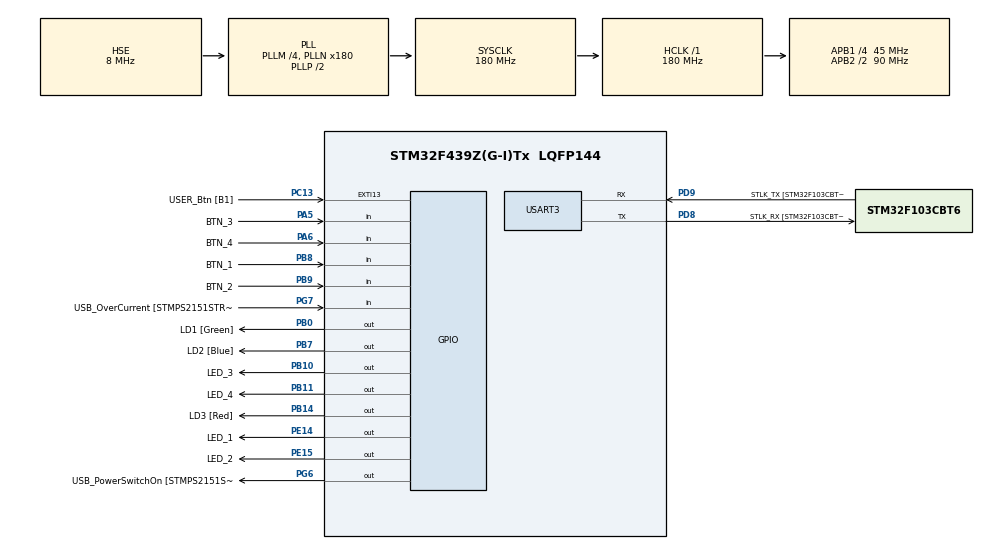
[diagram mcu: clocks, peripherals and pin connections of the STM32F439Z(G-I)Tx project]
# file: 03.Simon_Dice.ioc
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Mcu.Family=STM32F4
Mcu.Name=STM32F439Z(G-I)Tx
Mcu.Package=LQFP144
NVIC.PriorityGroup=NVIC_PRIORITYGROUP_4
PA13.GPIO_Label=TMS
PA13.Mode=Serial_Wire
PA13.Signal=SYS_JTMS-SWDIO
PA14.GPIO_Label=TCK
PA14.Mode=Serial_Wire
PA14.Signal=SYS_JTCK-SWCLK
PA5.GPIO_Label=BTN_3
PA5.GPIO_PuPd=GPIO_PULLUP
PA5.Signal=GPIO_Input
PA6.GPIO_Label=BTN_4
PA6.GPIO_PuPd=GPIO_PULLUP
PA6.Signal=GPIO_Input
PB0.GPIO_Label=LD1 [Green]
PB0.Signal=GPIO_Output
PB10.GPIO_Label=LED_3
PB10.Signal=GPIO_Output
PB11.GPIO_Label=LED_4
PB11.Signal=GPIO_Output
PB14.GPIO_Label=LD3 [Red]
PB14.Signal=GPIO_Output
PB7.GPIO_Label=LD2 [Blue]
PB7.Signal=GPIO_Output
PB8.GPIO_Label=BTN_1
PB8.GPIO_PuPd=GPIO_PULLUP
PB8.Signal=GPIO_Input
PB9.GPIO_Label=BTN_2
PB9.GPIO_PuPd=GPIO_PULLUP
PB9.Signal=GPIO_Input
PC13.GPIO_Label=USER_Btn [B1]
PC13.Signal=GPXTI13
PC14/OSC32_IN.Mode=LSE-External-Oscillator
PC14/OSC32_IN.Signal=RCC_OSC32_IN
PC15/OSC32_OUT.Mode=LSE-External-Oscillator
PC15/OSC32_OUT.Signal=RCC_OSC32_OUT
PD8.GPIO_Label=STLK_RX [STM32F103CBT6_PA3]
PD8.Mode=Asynchronous
PD8.Signal=USART3_TX
PD9.GPIO_Label=STLK_TX [STM32F103CBT6_PA2]
PD9.Mode=Asynchronous
PD9.Signal=USART3_RX
PE14.GPIO_Label=LED_1
PE14.Signal=GPIO_Output
PE15.GPIO_Label=LED_2
PE15.Signal=GPIO_Output
PG6.GPIO_Label=USB_PowerSwitchOn [STMPS2151STR_EN]
PG6.Signal=GPIO_Output
PG7.GPIO_Label=USB_OverCurrent [STMPS2151STR_FAULT]
PG7.Signal=GPIO_Input
PH0/OSC_IN.GPIO_Label=MCO [STM32F103CBT6_PA8]
PH0/OSC_IN.Mode=HSE-External-Oscillator
PH0/OSC_IN.Signal=RCC_OSC_IN
PH1/OSC_OUT.Mode=HSE-External-Oscillator
PH1/OSC_OUT.Signal=RCC_OSC_OUT
ProjectManager.HeapSize=0x200
ProjectManager.StackSize=0x400
ProjectManager.TargetToolchain=STM32CubeIDE
RCC.48MHZClocksFreq_Value=51428571.428571425
RCC.AHBFreq_Value=180000000
RCC.APB1CLKDivider=RCC_HCLK_DIV4
RCC.APB1Freq_Value=45000000
RCC.APB1TimFreq_Value=90000000
RCC.APB2CLKDivider=RCC_HCLK_DIV2
RCC.APB2Freq_Value=90000000
RCC.APB2TimFreq_Value=180000000
RCC.CortexFreq_Value=180000000
RCC.HCLKFreq_Value=180000000
RCC.HSE_VALUE=8000000
RCC.HSI_VALUE=16000000
RCC.PLLM=4
RCC.PLLMUL=RCC_PLL_MUL9
RCC.PLLN=180
RCC.PLLQ=7
RCC.PLLSourceVirtual=RCC_PLLSOURCE_HSE
RCC.PRESCALERUSB=RCC_USBCLKSOURCE_PLL_DIV1_5
RCC.SYSCLKFreq_VALUE=180000000
RCC.SYSCLKSource=RCC_SYSCLKSOURCE_PLLCLK
RCC.SYSCLKSourceVirtual=RCC_SYSCLKSOURCE_PLLCLK
RCC.USBFreq_Value=48000000
RCC.VCOOutputFreq_Value=360000000
USART3.VirtualMode=VM_ASYNC
board=NUCLEO-F439ZI

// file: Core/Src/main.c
/* USER CODE BEGIN Header */
/**
  ******************************************************************************
  * @file           : main.c
  * @brief          : Main program body
  ******************************************************************************
  * @attention
  *
  * Copyright (c) 2026 STMicroelectronics.
  * All rights reserved.
  *
  * This software is licensed under terms that can be found in the LICENSE file
  * in the root directory of this software component.
  * If no LICENSE file comes with this software, it is provided AS-IS.
  *
  ******************************************************************************
  */
/* USER CODE END Header */
#include "main.h"

/* USER CODE BEGIN Includes */
#include <stdio.h>
#include <stdlib.h>
#include <string.h>
/* USER CODE END Includes */

/* USER CODE BEGIN PD */
#define MAX_NIVEL 100
/* USER CODE END PD */

UART_HandleTypeDef huart3;

/* USER CODE BEGIN PV */
#define NIVEL_VICTORIA 10  // El juego termina al ganar 10 rondas
uint8_t secuencia[MAX_NIVEL];
uint8_t nivel_actual = 0;
/* USER CODE END PV */

void SystemClock_Config(void);
static void MX_GPIO_Init(void);
static void MX_USART3_UART_Init(void);
/* USER CODE BEGIN PFP */

/**
 * @brief  Bloquea la ejecución hasta que se presiona uno de los 4 botones.
 * @note   Implementa una espera activa con un pequeño delay para reducir el consumo de CPU.
 * @retval uint8_t ID del botón presionado (1 a 4).
 */
uint8_t Simon_EsperarBoton(void);

/**
 * @brief  Verifica de forma no bloqueante si algún botón está siendo presionado.
 * @note   Útil para detectar el inicio del juego o flancos de bajada.
 * @retval uint8_t 1 si hay al menos un botón presionado, 0 en caso contrario.
 */
uint8_t Simon_CualquierBotonPresionado(void);

/**
 * @brief  Muestra la secuencia generada hasta el nivel actual utilizando los LEDs.
 * @details Itera sobre el arreglo 'secuencia', encendiendo el LED correspondiente
 * con tiempos de encendido (600ms) y apagado (200ms).
 * @retval None
 */
void Simon_ReproducirSecuencia(void);

/**
 * @brief  Enciende un LED específico y asegura que los demás estén apagados.
 * @param  num: ID del LED a encender (1 a 4).
 * @retval None
 */
void Simon_EncenderUno(uint8_t num);

/**
 * @brief  Apaga todos los LEDs del juego de forma simultánea.
 * @note   Utiliza operaciones de bits (OR) para manejar múltiples pines en una sola llamada HAL.
 * @retval None
 */
void LED_All_Off(void);

/**
 * @brief  Ejecuta una animación de parpadeo rápido (flash) para indicar la pérdida del juego.
 * @retval None
 */
void Game_Over_Anim(void);

/**
 * @brief  Ejecuta una coreografía de luces circular y un flash final al ganar.
 * @details Envía un mensaje de felicitaciones por UART y realiza una animación de "giro"
 * con los 4 LEDs antes de reiniciar el contador de niveles.
 * @retval None
 */
void Win_Animation(void);

/**
 * @brief  Envía una cadena de caracteres a través del periférico USART3.
 * @param  mensaje: Puntero a la cadena de texto (string) a transmitir.
 * @retval None
 */
void Debug_Log(char* mensaje);

/* USER CODE END PFP */

/* USER CODE BEGIN 0 */

/* --- Lógica de Control de Hardware --- */

uint8_t Simon_EsperarBoton(void) {
    while (1) {
        // Asumiendo Pulsadores con Pull-Up interna (Active Low)
        if (HAL_GPIO_ReadPin(BTN_1_GPIO_Port, BTN_1_Pin) == GPIO_PIN_RESET) return 1;	//Boton 1
        if (HAL_GPIO_ReadPin(BTN_2_GPIO_Port, BTN_2_Pin) == GPIO_PIN_RESET) return 2;	//Boton 2
        if (HAL_GPIO_ReadPin(BTN_3_GPIO_Port, BTN_3_Pin) == GPIO_PIN_RESET) return 3;	//Boton 3
        if (HAL_GPIO_ReadPin(BTN_4_GPIO_Port, BTN_4_Pin) == GPIO_PIN_RESET) return 4;	//Boton 4
        HAL_Delay(10); // Respiro para el CPU
    }
}

uint8_t Simon_CualquierBotonPresionado(void) {
    if (HAL_GPIO_ReadPin(BTN_1_GPIO_Port, BTN_1_Pin) == GPIO_PIN_RESET ||
        HAL_GPIO_ReadPin(BTN_2_GPIO_Port, BTN_2_Pin) == GPIO_PIN_RESET ||
        HAL_GPIO_ReadPin(BTN_3_GPIO_Port, BTN_3_Pin) == GPIO_PIN_RESET ||
        HAL_GPIO_ReadPin(BTN_4_GPIO_Port, BTN_4_Pin) == GPIO_PIN_RESET) {
        return 1;
    }
    return 0;
}

void Simon_ReproducirSecuencia(void) {
    for (int i = 0; i < nivel_actual; i++) {
        LED_All_Off();
        HAL_Delay(200);
        Simon_EncenderUno(secuencia[i]);
        HAL_Delay(600);
    }
    LED_All_Off();
}

void Simon_EncenderUno(uint8_t num) {
    LED_All_Off();
    switch (num) {
        case 1: HAL_GPIO_WritePin(LED_1_GPIO_Port, LED_1_Pin, 1); break;	//Led 1
        case 2: HAL_GPIO_WritePin(LED_2_GPIO_Port, LED_2_Pin, 1); break;	//Led 2
        case 3: HAL_GPIO_WritePin(LED_3_GPIO_Port, LED_3_Pin, 1); break;	//Led 3
        case 4: HAL_GPIO_WritePin(LED_4_GPIO_Port, LED_4_Pin, 1); break;	//Led 4
    }
}

void LED_All_Off(void) {
    HAL_GPIO_WritePin(LED_1_GPIO_Port, LED_1_Pin | LED_2_Pin, 0);
    HAL_GPIO_WritePin(LED_3_GPIO_Port, LED_3_Pin | LED_4_Pin, 0);
}

void Game_Over_Anim(void) {
    for(int i=0; i<6; i++) {
        HAL_GPIO_WritePin(LED_1_GPIO_Port, LED_1_Pin | LED_2_Pin, 1);
        HAL_GPIO_WritePin(LED_3_GPIO_Port, LED_3_Pin | LED_4_Pin, 1);
        HAL_Delay(150);
        LED_All_Off();
        HAL_Delay(150);
    }
}

void Win_Animation(void) {
    Debug_Log("\r\n🏆 ¡FELICIDADES! HAS COMPLETADO EL JUEGO 🏆\r\n");
    for (int i = 0; i < 10; i++) { // Repetir el giro 10 veces
        HAL_GPIO_WritePin(LED_1_GPIO_Port, LED_1_Pin, 1); // LED 1
        HAL_Delay(50);
        HAL_GPIO_WritePin(LED_1_GPIO_Port, LED_1_Pin, 0);

        HAL_GPIO_WritePin(LED_2_GPIO_Port, LED_2_Pin, 1); // LED 2
        HAL_Delay(50);
        HAL_GPIO_WritePin(LED_2_GPIO_Port, LED_2_Pin, 0);

        HAL_GPIO_WritePin(LED_3_GPIO_Port, LED_3_Pin, 1); // LED 3
        HAL_Delay(50);
        HAL_GPIO_WritePin(LED_3_GPIO_Port, LED_3_Pin, 0);

        HAL_GPIO_WritePin(LED_4_GPIO_Port, LED_4_Pin, 1); // LED 4
        HAL_Delay(50);
        HAL_GPIO_WritePin(LED_4_GPIO_Port, LED_4_Pin, 0);
    }
    // Flash final de victoria
    for(int j=0; j<3; j++){
        HAL_GPIO_WritePin(LED_1_GPIO_Port, LED_1_Pin | LED_2_Pin, 1);
        HAL_GPIO_WritePin(LED_3_GPIO_Port, LED_3_Pin | LED_4_Pin, 1);
        HAL_Delay(200);
        LED_All_Off();
        HAL_Delay(200);
    }
}

void Debug_Log(char* mensaje) {
    HAL_UART_Transmit(&huart3, (uint8_t*)mensaje, strlen(mensaje), 100);
}
/* USER CODE END 0 */

int main(void)
{

  /* MCU Configuration--------------------------------------------------------*/

  /* Reset of all peripherals, Initializes the Flash interface and the Systick. */
  HAL_Init();

  /* Configure the system clock */
  SystemClock_Config();

  /* Initialize all configured peripherals */
  MX_GPIO_Init();
  MX_USART3_UART_Init();
  /* USER CODE BEGIN 2 */
  // Semilla aleatoria basada en el tiempo de inicio
      srand(HAL_GetTick());

      Debug_Log("\r\n======================================\r\n");
      Debug_Log("   SIMON DICE: VERSION HARDWARE\r\n");
      Debug_Log("======================================\r\n");
      Debug_Log("Presiona cualquier boton para empezar...\r\n");

      while(!Simon_CualquierBotonPresionado()); // Espera a que toques algo para arrancar
      HAL_Delay(500);
  /* USER CODE END 2 */

  /* Infinite loop */
  while (1)
  {

    /* USER CODE BEGIN 3 */

	  	  	  // 1. Aumentar nivel
	          if (nivel_actual < MAX_NIVEL) {
	              secuencia[nivel_actual] = (rand() % 4) + 1;
	              nivel_actual++;
	          }

	          char buffer[50];
	          sprintf(buffer, "\r\n--- NIVEL %d ---\r\n", nivel_actual);
	          Debug_Log(buffer);

	          HAL_Delay(800);

	          // 2. Mostrar la secuencia con los LEDs
	          Simon_ReproducirSecuencia();

	          // 3. Fase de respuesta del usuario
	          uint8_t fallo = 0;
	          Debug_Log("Tu turno...");

	          for (int i = 0; i < nivel_actual; i++) {
	              // Esperar a que el usuario presione un botón
	              uint8_t botonUser = Simon_EsperarBoton();

	              // Feedback: Encender el LED que corresponde al botón apretado
	              Simon_EncenderUno(botonUser);

	              // Log del botón presionado
	              char b_log[15];
	              sprintf(b_log, " [BTN %d]", botonUser);
	              Debug_Log(b_log);

	              // IMPORTANTE: Esperar a que suelte el botón (Antirrepetidor)
	              while(Simon_CualquierBotonPresionado());
	              HAL_Delay(50); // Debounce
	              LED_All_Off();

	              // 4. Validar contra la secuencia
	              if (botonUser != secuencia[i]) {
	                  fallo = 1;
	                  break;
	              }
	          }

	          // 5. Resultado
	          if (fallo) {
	              Debug_Log("\r\nERROR: Secuencia incorrecta!\r\n");
	              Game_Over_Anim();
	              nivel_actual = 0; // Reiniciar progreso
	              HAL_Delay(2000);
	              Debug_Log("Reiniciando juego...");
	          }
	          else {
	              // Si no falló, verificamos si alcanzó la meta
	              if (nivel_actual == NIVEL_VICTORIA) {
	                  Win_Animation(); // ¡La coreografía de luces!
	                  nivel_actual = 0; // Reiniciar después de la gloria
	                  Debug_Log("\r\nReiniciando nuevo desafio...");
	                  HAL_Delay(3000);
	              }
	              else {
	                  // Solo pasó de nivel, seguimos jugando
	                  Debug_Log("\r\nCORRECTO! Siguiente nivel.");
	                  HAL_Delay(800);
	              }
	          }
  }
  /* USER CODE END 3 */
}

void SystemClock_Config(void)
{
  RCC_OscInitTypeDef RCC_OscInitStruct = {0};
  RCC_ClkInitTypeDef RCC_ClkInitStruct = {0};

  /** Configure the main internal regulator output voltage
  */
  __HAL_RCC_PWR_CLK_ENABLE();
  __HAL_PWR_VOLTAGESCALING_CONFIG(PWR_REGULATOR_VOLTAGE_SCALE1);

  /** Initializes the RCC Oscillators according to the specified parameters
  * in the RCC_OscInitTypeDef structure.
  */
  RCC_OscInitStruct.OscillatorType = RCC_OSCILLATORTYPE_HSE;
  RCC_OscInitStruct.HSEState = RCC_HSE_ON;
  RCC_OscInitStruct.PLL.PLLState = RCC_PLL_ON;
  RCC_OscInitStruct.PLL.PLLSource = RCC_PLLSOURCE_HSE;
  RCC_OscInitStruct.PLL.PLLM = 4;
  RCC_OscInitStruct.PLL.PLLN = 180;
  RCC_OscInitStruct.PLL.PLLP = RCC_PLLP_DIV2;
  RCC_OscInitStruct.PLL.PLLQ = 7;
  if (HAL_RCC_OscConfig(&RCC_OscInitStruct) != HAL_OK)
  {
    Error_Handler();
  }

  /** Activate the Over-Drive mode
  */
  if (HAL_PWREx_EnableOverDrive() != HAL_OK)
  {
    Error_Handler();
  }

  /** Initializes the CPU, AHB and APB buses clocks
  */
  RCC_ClkInitStruct.ClockType = RCC_CLOCKTYPE_HCLK|RCC_CLOCKTYPE_SYSCLK
                              |RCC_CLOCKTYPE_PCLK1|RCC_CLOCKTYPE_PCLK2;
  RCC_ClkInitStruct.SYSCLKSource = RCC_SYSCLKSOURCE_PLLCLK;
  RCC_ClkInitStruct.AHBCLKDivider = RCC_SYSCLK_DIV1;
  RCC_ClkInitStruct.APB1CLKDivider = RCC_HCLK_DIV4;
  RCC_ClkInitStruct.APB2CLKDivider = RCC_HCLK_DIV2;

  if (HAL_RCC_ClockConfig(&RCC_ClkInitStruct, FLASH_LATENCY_5) != HAL_OK)
  {
    Error_Handler();
  }
}

static void MX_USART3_UART_Init(void)
{

  huart3.Instance = USART3;
  huart3.Init.BaudRate = 115200;
  huart3.Init.WordLength = UART_WORDLENGTH_8B;
  huart3.Init.StopBits = UART_STOPBITS_1;
  huart3.Init.Parity = UART_PARITY_NONE;
  huart3.Init.Mode = UART_MODE_TX_RX;
  huart3.Init.HwFlowCtl = UART_HWCONTROL_NONE;
  huart3.Init.OverSampling = UART_OVERSAMPLING_16;
  if (HAL_UART_Init(&huart3) != HAL_OK)
  {
    Error_Handler();
  }

}

static void MX_GPIO_Init(void)
{
  GPIO_InitTypeDef GPIO_InitStruct = {0};

  /* GPIO Ports Clock Enable */
  __HAL_RCC_GPIOC_CLK_ENABLE();
  __HAL_RCC_GPIOH_CLK_ENABLE();
  __HAL_RCC_GPIOA_CLK_ENABLE();
  __HAL_RCC_GPIOB_CLK_ENABLE();
  __HAL_RCC_GPIOE_CLK_ENABLE();
  __HAL_RCC_GPIOD_CLK_ENABLE();
  __HAL_RCC_GPIOG_CLK_ENABLE();

  /*Configure GPIO pin Output Level */
  HAL_GPIO_WritePin(GPIOB, LD1_Pin|LED_3_Pin|LED_4_Pin|LD3_Pin
                          |LD2_Pin, GPIO_PIN_RESET);

  /*Configure GPIO pin Output Level */
  HAL_GPIO_WritePin(GPIOE, LED_1_Pin|LED_2_Pin, GPIO_PIN_RESET);

  /*Configure GPIO pin Output Level */
  HAL_GPIO_WritePin(USB_PowerSwitchOn_GPIO_Port, USB_PowerSwitchOn_Pin, GPIO_PIN_RESET);

  /*Configure GPIO pin : USER_Btn_Pin */
  GPIO_InitStruct.Pin = USER_Btn_Pin;
  GPIO_InitStruct.Mode = GPIO_MODE_IT_RISING;
  GPIO_InitStruct.Pull = GPIO_NOPULL;
  HAL_GPIO_Init(USER_Btn_GPIO_Port, &GPIO_InitStruct);

  /*Configure GPIO pins : BTN_3_Pin BTN_4_Pin */
  GPIO_InitStruct.Pin = BTN_3_Pin|BTN_4_Pin;
  GPIO_InitStruct.Mode = GPIO_MODE_INPUT;
  GPIO_InitStruct.Pull = GPIO_PULLUP;
  HAL_GPIO_Init(GPIOA, &GPIO_InitStruct);

  /*Configure GPIO pins : LD1_Pin LED_3_Pin LED_4_Pin LD3_Pin
                           LD2_Pin */
  GPIO_InitStruct.Pin = LD1_Pin|LED_3_Pin|LED_4_Pin|LD3_Pin
                          |LD2_Pin;
  GPIO_InitStruct.Mode = GPIO_MODE_OUTPUT_PP;
  GPIO_InitStruct.Pull = GPIO_NOPULL;
  GPIO_InitStruct.Speed = GPIO_SPEED_FREQ_LOW;
  HAL_GPIO_Init(GPIOB, &GPIO_InitStruct);

  /*Configure GPIO pins : LED_1_Pin LED_2_Pin */
  GPIO_InitStruct.Pin = LED_1_Pin|LED_2_Pin;
  GPIO_InitStruct.Mode = GPIO_MODE_OUTPUT_PP;
  GPIO_InitStruct.Pull = GPIO_NOPULL;
  GPIO_InitStruct.Speed = GPIO_SPEED_FREQ_LOW;
  HAL_GPIO_Init(GPIOE, &GPIO_InitStruct);

  /*Configure GPIO pin : USB_PowerSwitchOn_Pin */
  GPIO_InitStruct.Pin = USB_PowerSwitchOn_Pin;
  GPIO_InitStruct.Mode = GPIO_MODE_OUTPUT_PP;
  GPIO_InitStruct.Pull = GPIO_NOPULL;
  GPIO_InitStruct.Speed = GPIO_SPEED_FREQ_LOW;
  HAL_GPIO_Init(USB_PowerSwitchOn_GPIO_Port, &GPIO_InitStruct);

  /*Configure GPIO pin : USB_OverCurrent_Pin */
  GPIO_InitStruct.Pin = USB_OverCurrent_Pin;
  GPIO_InitStruct.Mode = GPIO_MODE_INPUT;
  GPIO_InitStruct.Pull = GPIO_NOPULL;
  HAL_GPIO_Init(USB_OverCurrent_GPIO_Port, &GPIO_InitStruct);

  /*Configure GPIO pins : BTN_1_Pin BTN_2_Pin */
  GPIO_InitStruct.Pin = BTN_1_Pin|BTN_2_Pin;
  GPIO_InitStruct.Mode = GPIO_MODE_INPUT;
  GPIO_InitStruct.Pull = GPIO_PULLUP;
  HAL_GPIO_Init(GPIOB, &GPIO_InitStruct);

}

void Error_Handler(void)
{
  __disable_irq();
  while (1)
  {
  }
}
